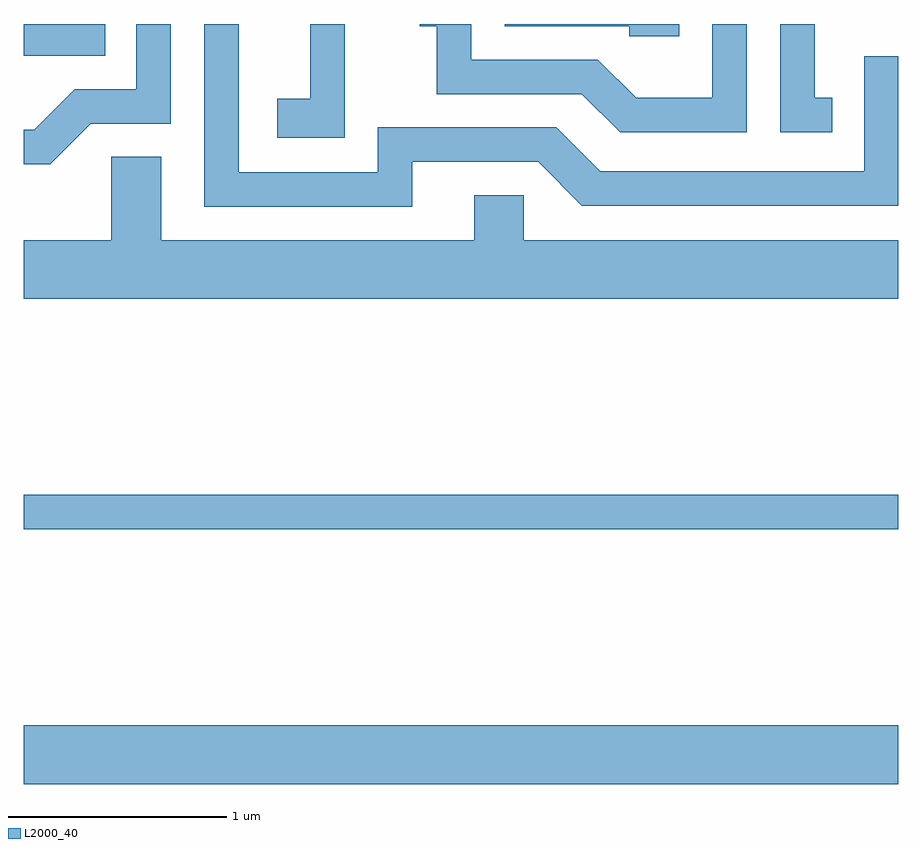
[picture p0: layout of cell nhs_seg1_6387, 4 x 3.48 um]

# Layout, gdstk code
import gdstk
lib = gdstk.Library(unit=1e-6, precision=1e-09)
def R(c, l, rs):  # rectangles x0, y0, x1, y1
    for r in rs: c.add(gdstk.rectangle(r[:2], r[2:], *l))
def P(c, l, *ps):  # polygons
    for p in ps: c.add(gdstk.Polygon(p, *l))
L2000_40 = (2000, 40)

nhs_seg1_6387 = lib.new_cell('nhs_seg1_6387')
R(nhs_seg1_6387, L2000_40, [(377.611,906.236,381.611,906.504), (377.611,907.401,381.611,907.559), (377.611,909.566,377.983,909.712)])
P(nhs_seg1_6387, L2000_40, [(379.389,909.081),(379.964,909.081),(380.164,908.881),(381.611,908.881),(381.611,909.564),(381.456,909.564),(381.456,909.039),(380.247,909.039),(380.047,909.239),(379.231,909.239),(379.231,909.034),(378.594,909.034),(378.594,909.712),(378.436,909.712),(378.436,908.876),(379.389,908.876)],
  [(380.919,909.712),(380.761,909.712),(380.761,909.374),(380.412,909.374),(380.237,909.549),(379.659,909.549),(379.659,909.712),(379.423,909.712),(379.423,909.701),(379.501,909.701),(379.501,909.391),(380.164,909.391),(380.339,909.216),(380.919,909.216)],
  [(377.917,909.256),(378.284,909.256),(378.284,909.712),(378.126,909.712),(378.126,909.414),(377.844,909.414),(377.659,909.229),(377.611,909.229),(377.611,909.071),(377.732,909.071)],
  [(381.308,909.374),(381.229,909.374),(381.229,909.712),(381.071,909.712),(381.071,909.216),(381.308,909.216)],
  [(379.079,909.712),(378.921,909.712),(378.921,909.369),(378.771,909.369),(378.771,909.191),(379.079,909.191)],
  [(380.609,909.712),(379.811,909.712),(379.811,909.701),(380.381,909.701),(380.381,909.656),(380.609,909.656)],
  [(381.611,908.724),(379.899,908.724),(379.899,908.929),(379.671,908.929),(379.671,908.724),(378.239,908.724),(378.239,909.104),(378.011,909.104),(378.011,908.724),(377.611,908.724),(377.611,908.456),(381.611,908.456)])

lib.write_gds('nhs_seg1_6387.gds')
